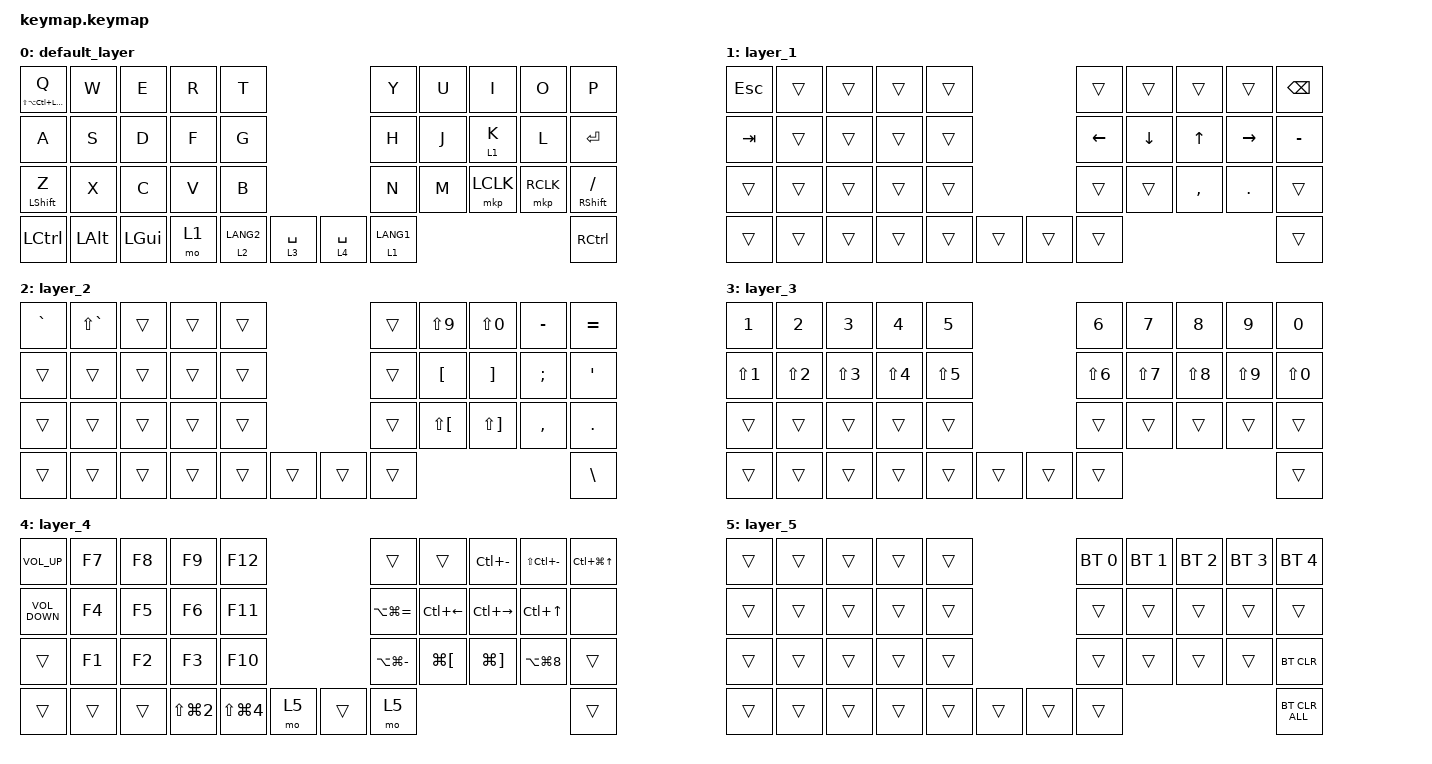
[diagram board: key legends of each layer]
#define ZMK_POINTING_DEFAULT_SCRL_VAL 5

#include <behaviors.dtsi>
#include <dt-bindings/zmk/bt.h>
#include <dt-bindings/zmk/keys.h>
#include <dt-bindings/zmk/pointing.h>

&mt {
    flavor = "balanced";
    quick-tap-ms = <0>;
};

/ {
    combos {
        compatible = "zmk,combos";

        bt_clear {
            bindings = <&bt BT_CLR>;
            key-positions = <28 29>;
            layers = <2>;
        };
    };

    keymap {
        compatible = "zmk,keymap";

        default_layer {
            bindings = <
  &mt LS(LA(LC(LEFT_GUI))) Q  &kp W         &kp E         &kp R  &kp T                                  &kp Y        &kp U  &kp I      &kp O      &kp P
  &kp A                       &kp S         &kp D         &kp F  &kp G                                  &kp H        &kp J  &lt 1 K    &kp L      &kp ENTER
  &mt LEFT_SHIFT Z            &kp X         &kp C         &kp V  &kp B                                  &kp N        &kp M  &mkp LCLK  &mkp RCLK  &mt RIGHT_SHIFT FSLH
  &kp LCTRL                   &kp LEFT_ALT  &kp LEFT_GUI  &mo 1  &lt 2 LANG2  &lt 3 SPACE  &lt 4 SPACE  &lt 1 LANG1                               &kp RCTRL
            >;
        };

        layer_1 {
            bindings = <
  &kp ESCAPE  &trans  &trans  &trans  &trans                  &trans    &trans    &trans     &trans      &kp BACKSPACE
  &kp TAB     &trans  &trans  &trans  &trans                  &kp LEFT  &kp DOWN  &kp UP     &kp RIGHT   &kp MINUS
  &trans      &trans  &trans  &trans  &trans                  &trans    &trans    &kp COMMA  &kp PERIOD  &trans
  &trans      &trans  &trans  &trans  &trans  &trans  &trans  &trans                                     &trans
            >;
        };

        layer_2 {
            bindings = <
  &kp GRAVE  &kp LS(GRAVE)  &trans  &trans  &trans                  &trans  &kp LS(N9)    &kp LS(N0)    &kp MINUS  &kp EQUAL
  &trans     &trans         &trans  &trans  &trans                  &trans  &kp LBKT      &kp RBKT      &kp SEMI   &kp APOS
  &trans     &trans         &trans  &trans  &trans                  &trans  &kp LS(LBKT)  &kp LS(RBKT)  &kp COMMA  &kp DOT
  &trans     &trans         &trans  &trans  &trans  &trans  &trans  &trans                                         &kp BSLH
            >;
        };

        layer_3 {
            bindings = <
  &kp N1      &kp N2      &kp N3      &kp N4      &kp N5                      &kp N6      &kp N7      &kp N8      &kp N9      &kp N0
  &kp LS(N1)  &kp LS(N2)  &kp LS(N3)  &kp LS(N4)  &kp LS(N5)                  &kp LS(N6)  &kp LS(N7)  &kp LS(N8)  &kp LS(N9)  &kp LS(N0)
  &trans      &trans      &trans      &trans      &trans                      &trans      &trans      &trans      &trans      &trans
  &trans      &trans      &trans      &trans      &trans      &trans  &trans  &trans                                          &trans
            >;
        };

        layer_4 {
            bindings = <
  &kp C_VOLUME_UP    &kp F7  &kp F8  &kp F9          &kp F12                         &trans             &trans        &kp LC(MINUS)  &kp LS(LC(MINUS))  &kp LC(LG(UP))
  &kp C_VOLUME_DOWN  &kp F4  &kp F5  &kp F6          &kp F11                         &kp LA(LG(EQUAL))  &kp LC(LEFT)  &kp LC(RIGHT)  &kp LC(UP)         &none
  &trans             &kp F1  &kp F2  &kp F3          &kp F10                         &kp LA(LG(MINUS))  &kp LG(LBKT)  &kp LG(RBKT)   &kp LA(LG(N8))     &trans
  &trans             &trans  &trans  &kp LS(LG(N2))  &kp LS(LG(N4))  &mo 5   &trans  &mo 5                                                              &trans
            >;
        };

        layer_5 {
            bindings = <
  &trans  &trans  &trans  &trans  &trans                  &bt BT_SEL 0  &bt BT_SEL 1  &bt BT_SEL 2  &bt BT_SEL 3  &bt BT_SEL 4
  &trans  &trans  &trans  &trans  &trans                  &trans        &trans        &trans        &trans        &trans
  &trans  &trans  &trans  &trans  &trans                  &trans        &trans        &trans        &trans        &bt BT_CLR
  &trans  &trans  &trans  &trans  &trans  &trans  &trans  &trans                                                  &bt BT_CLR_ALL
            >;
        };
    };
};
